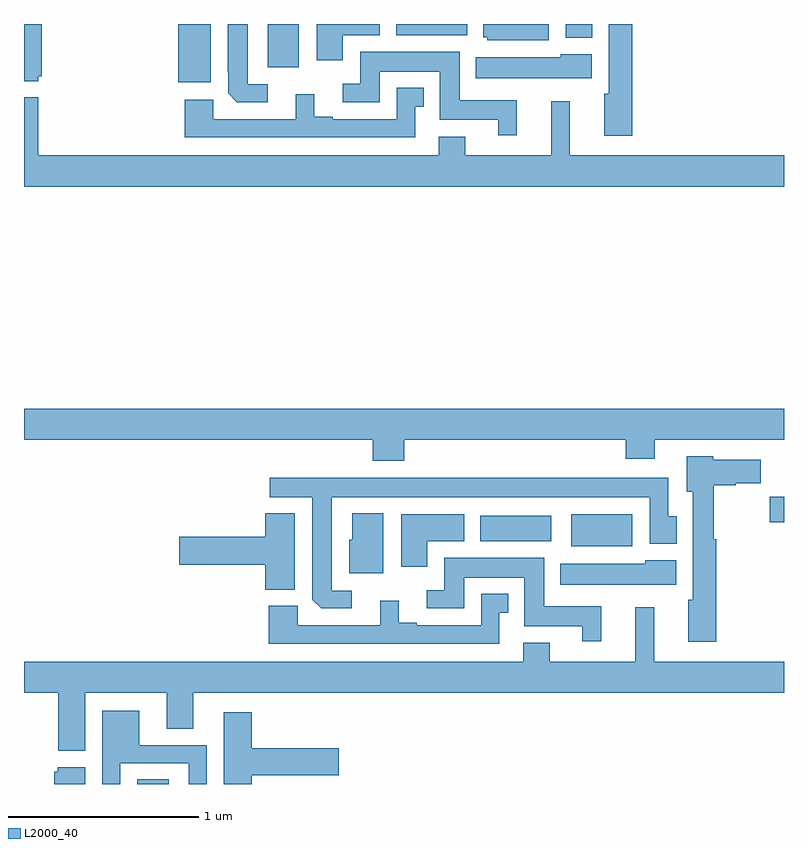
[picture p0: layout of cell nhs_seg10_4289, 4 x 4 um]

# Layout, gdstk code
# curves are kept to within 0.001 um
import gdstk
lib = gdstk.Library(unit=1e-6, precision=1e-09)
def R(c, l, rs):  # rectangles x0, y0, x1, y1
    for r in rs: c.add(gdstk.rectangle(r[:2], r[2:], *l))
def P(c, l, *ps):  # polygons
    for p in ps: c.add(gdstk.Polygon(p, *l))
L2000_40 = (2000, 40)

nhs_seg10_4289 = lib.new_cell('nhs_seg10_4289')
R(nhs_seg10_4289, L2000_40, [(351.596,1302.5,351.763,1302.524), (353.879,1303.751,354.202,1303.921), (353.402,1303.778,353.776,1303.912), (354.924,1303.877,355,1304.011), (351.812,1306.193,351.982,1306.5), (352.283,1306.272,352.447,1306.5), (353.85,1306.428,353.992,1306.5), (352.958,1306.442,353.332,1306.5)])
P(nhs_seg10_4289, L2000_40, [(354.2,1306.5),(354.077,1306.5),(354.077,1306.134),(354.053,1306.134),(354.053,1305.912),(354.2,1305.912)],
  [(352.282,1306.182),(352.177,1306.182),(352.177,1306.5),(352.073,1306.5),(352.073,1306.246),(352.074,1306.246),(352.074,1306.135),(352.12,1306.089),(352.282,1306.089)],
  [(351.075,1306.224),(351.094,1306.224),(351.094,1306.5),(351,1306.5),(351,1306.199),(351.075,1306.199)],
  [(352.678,1306.442),(352.873,1306.442),(352.873,1306.5),(352.541,1306.5),(352.541,1306.308),(352.678,1306.308)],
  [(353.761,1306.5),(353.417,1306.5),(353.417,1306.431),(353.439,1306.431),(353.439,1306.415),(353.761,1306.415)],
  [(353.594,1306.099),(353.293,1306.099),(353.293,1306.354),(352.769,1306.354),(352.769,1306.185),(352.677,1306.185),(352.677,1306.089),(352.873,1306.089),(352.873,1306.25),(353.189,1306.25),(353.189,1305.995),(353.495,1305.995),(353.495,1305.915),(353.594,1305.915)],
  [(353.989,1306.342),(353.826,1306.342),(353.826,1306.324),(353.378,1306.324),(353.378,1306.214),(353.989,1306.214)],
  [(353.058,1306.065),(353.104,1306.065),(353.104,1306.165),(352.962,1306.165),(352.962,1305.999),(352.624,1305.999),(352.624,1306.012),(352.528,1306.012),(352.528,1306.129),(352.43,1306.129),(352.43,1305.999),(351.996,1305.999),(351.996,1306.102),(351.845,1306.102),(351.845,1305.903),(353.058,1305.903)],
  [(355,1305.808),(353.873,1305.808),(353.873,1306.093),(353.774,1306.093),(353.774,1305.808),(353.323,1305.808),(353.323,1305.907),(353.183,1305.907),(353.183,1305.808),(351.074,1305.808),(351.074,1306.114),(351,1306.114),(351,1305.644),(355,1305.644)],
  [(353,1304.312),(354.167,1304.312),(354.167,1304.213),(354.319,1304.213),(354.319,1304.312),(355,1304.312),(355,1304.476),(351,1304.476),(351,1304.312),(352.835,1304.312),(352.835,1304.201),(353,1304.201)],
  [(354.644,1303.788),(354.631,1303.788),(354.631,1304.072),(354.746,1304.072),(354.746,1304.082),(354.877,1304.082),(354.877,1304.206),(354.627,1304.206),(354.627,1304.224),(354.488,1304.224),(354.488,1304.037),(354.521,1304.037),(354.521,1303.47),(354.497,1303.47),(354.497,1303.248),(354.644,1303.248)],
  [(352.726,1303.518),(352.621,1303.518),(352.621,1304.009),(354.294,1304.009),(354.294,1303.764),(354.436,1303.764),(354.436,1303.908),(354.391,1303.908),(354.391,1304.113),(352.293,1304.113),(352.293,1304.009),(352.517,1304.009),(352.518,1303.471),(352.564,1303.425),(352.726,1303.425)],
  [(352.891,1303.924),(352.727,1303.924),(352.727,1303.785),(352.712,1303.785),(352.712,1303.608),(352.891,1303.608)],
  [(352.426,1303.924),(352.271,1303.924),(352.271,1303.802),(351.816,1303.802),(351.816,1303.655),(352.271,1303.655),(352.271,1303.523),(352.426,1303.523)],
  [(353.122,1303.778),(353.317,1303.778),(353.317,1303.921),(352.985,1303.921),(352.985,1303.644),(353.122,1303.644)],
  [(354.038,1303.435),(353.737,1303.435),(353.737,1303.69),(353.213,1303.69),(353.213,1303.521),(353.121,1303.521),(353.121,1303.425),(353.317,1303.425),(353.317,1303.586),(353.633,1303.586),(353.633,1303.331),(353.939,1303.331),(353.939,1303.251),(354.038,1303.251)],
  [(354.433,1303.678),(354.27,1303.678),(354.27,1303.66),(353.822,1303.66),(353.822,1303.55),(354.433,1303.55)],
  [(353.502,1303.401),(353.548,1303.401),(353.548,1303.501),(353.406,1303.501),(353.406,1303.335),(353.068,1303.335),(353.068,1303.348),(352.972,1303.348),(352.972,1303.465),(352.874,1303.465),(352.874,1303.335),(352.44,1303.335),(352.44,1303.438),(352.289,1303.438),(352.289,1303.239),(353.502,1303.239)],
  [(351.322,1302.98),(351.752,1302.98),(351.752,1302.79),(351.892,1302.79),(351.892,1302.98),(355,1302.98),(355,1303.144),(354.317,1303.144),(354.317,1303.429),(354.218,1303.429),(354.218,1303.144),(353.767,1303.144),(353.767,1303.243),(353.627,1303.243),(353.627,1303.144),(351,1303.144),(351,1302.98),(351.179,1302.98),(351.179,1302.674),(351.322,1302.674)],
  [(351.507,1302.609),(351.867,1302.609),(351.867,1302.5),(351.963,1302.5),(351.963,1302.705),(351.607,1302.705),(351.607,1302.886),(351.411,1302.886),(351.411,1302.5),(351.507,1302.5)],
  [(352.199,1302.545),(352.657,1302.545),(352.657,1302.687),(352.199,1302.687),(352.199,1302.877),(352.052,1302.877),(352.052,1302.5),(352.199,1302.5)],
  [(351.322,1302.589),(351.177,1302.589),(351.177,1302.564),(351.158,1302.564),(351.158,1302.5),(351.322,1302.5)])

lib.write_gds('nhs_seg10_4289.gds')
